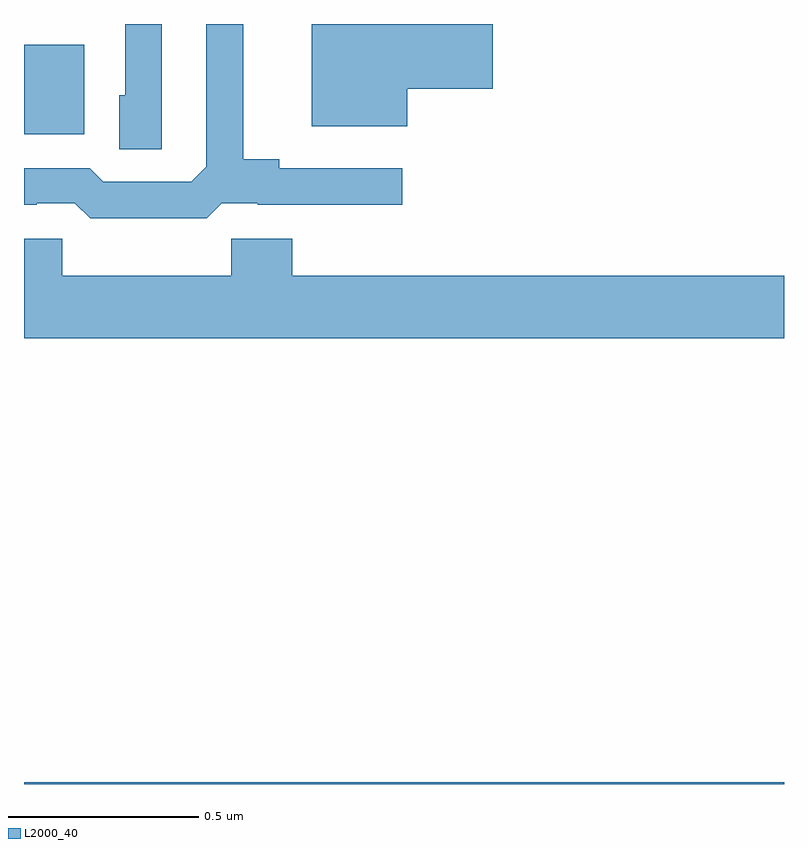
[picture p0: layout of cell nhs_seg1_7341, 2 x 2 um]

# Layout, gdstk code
import gdstk
lib = gdstk.Library(unit=1e-6, precision=1e-09)
def R(c, l, rs):  # rectangles x0, y0, x1, y1
    for r in rs: c.add(gdstk.rectangle(r[:2], r[2:], *l))
def P(c, l, *ps):  # polygons
    for p in ps: c.add(gdstk.Polygon(p, *l))
L2000_40 = (2000, 40)

nhs_seg1_7341 = lib.new_cell('nhs_seg1_7341')
R(nhs_seg1_7341, L2000_40, [(202,577.199,204,577.204), (202,578.909,202.159,579.145)])
P(nhs_seg1_7341, L2000_40, [(202.362,579.199),(202.266,579.199),(202.266,579.012),(202.25,579.012),(202.25,578.869),(202.362,578.869)],
  [(203.008,579.029),(203.233,579.029),(203.233,579.199),(202.757,579.199),(202.757,578.93),(203.008,578.93)],
  [(202.521,578.727),(202.615,578.727),(202.615,578.723),(202.996,578.723),(202.996,578.82),(202.672,578.82),(202.672,578.843),(202.577,578.843),(202.577,579.199),(202.479,579.199),(202.479,578.823),(202.44,578.784),(202.209,578.784),(202.173,578.82),(202,578.82),(202,578.723),(202.034,578.723),(202.034,578.727),(202.134,578.727),(202.174,578.688),(202.481,578.688)],
  [(204,578.536),(202.706,578.536),(202.706,578.634),(202.546,578.634),(202.546,578.536),(202.101,578.536),(202.101,578.634),(202,578.634),(202,578.372),(204,578.372)])

lib.write_gds('nhs_seg1_7341.gds')
